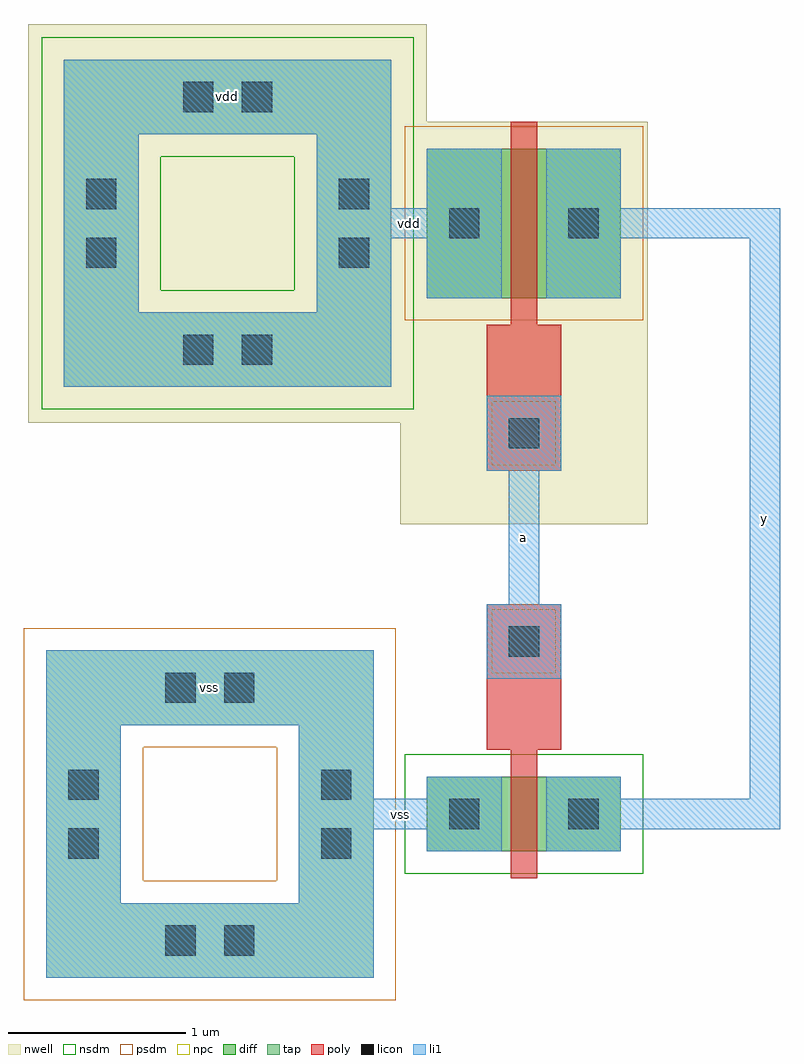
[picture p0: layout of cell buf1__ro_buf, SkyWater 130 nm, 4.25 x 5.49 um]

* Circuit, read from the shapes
.subckt buf1__ro_buf a vdd vss y
XM1 y a vss vss sky130_fd_pr__nfet_01v8 w=0.42 l=0.15
XM2 y a vdd vdd sky130_fd_pr__pfet_01v8 w=0.84 l=0.15
.ends

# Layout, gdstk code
import gdstk
lib = gdstk.Library(unit=1e-6, precision=1e-09)
def R(c, l, rs):  # rectangles x0, y0, x1, y1
    for r in rs: c.add(gdstk.rectangle(r[:2], r[2:], *l))
def P(c, l, *ps):  # polygons
    for p in ps: c.add(gdstk.Polygon(p, *l))
nwell = (64, 20)
diff = (65, 20)
tap = (65, 44)
poly = (66, 20)
licon = (66, 44)
li1 = (67, 20)
nsdm = (93, 44)
psdm = (94, 20)
npc = (95, 20)

mos_array_1_5 = lib.new_cell('mos_array$1$5')
R(mos_array_1_5, nwell, [(-0.15,-0.15,1.24,2.11)])
R(mos_array_1_5, diff, [(0,0,1.09,0.84)])
R(mos_array_1_5, poly, [(0.47,-0.15,0.62,0.84), (0.47,0.84,0.62,0.99), (0.47,0.84,0.62,0.99), (0.335,0.99,0.755,1.81)])
R(mos_array_1_5, licon, [(0.125,0.335,0.295,0.505), (0.795,0.335,0.965,0.505), (0.46,1.515,0.63,1.685)])
R(mos_array_1_5, li1, [(0,0,0.42,0.84), (0.67,0,1.09,0.84), (0.335,1.39,0.755,1.81)])
R(mos_array_1_5, psdm, [(-0.125,-0.125,1.215,0.965)])
R(mos_array_1_5, npc, [(0.365,1.42,0.725,1.78)])

mp__pfet_w0p84_l0p15 = lib.new_cell('mp__pfet_w0p84_l0p15')
mp__pfet_w0p84_l0p15.add(gdstk.Reference(mos_array_1_5, (0,0)))

guard_ring_1_5 = lib.new_cell('guard_ring$1$5')
R(guard_ring_1_5, nwell, [(-0.2,-0.2,2.04,2.04)])
P(guard_ring_1_5, tap, [(0,0),(0,1.42),(0.42,1.42),(0.42,0.42),(1.42,0.42),(1.42,1.42),(0,1.42),(0,1.84),(1.84,1.84),(1.84,0)])
R(guard_ring_1_5, licon, [(0.67,0.125,0.84,0.295), (1,0.125,1.17,0.295), (0.125,0.67,0.295,0.84), (1.545,0.67,1.715,0.84), (0.125,1,0.295,1.17), (1.545,1,1.715,1.17), (0.67,1.545,0.84,1.715), (1,1.545,1.17,1.715)])
P(guard_ring_1_5, li1, [(0,0),(0,1.42),(0.42,1.42),(0.42,0.42),(1.42,0.42),(1.42,1.42),(0,1.42),(0,1.84),(1.84,1.84),(1.84,0)])
P(guard_ring_1_5, nsdm, [(-0.125,-0.125),(-0.125,1.295),(0.545,1.295),(0.545,0.545),(1.295,0.545),(1.295,1.295),(-0.125,1.295),(-0.125,1.965),(1.965,1.965),(1.965,-0.125)])

nwell_tap__nwell_tap_5 = lib.new_cell('nwell_tap__nwell_tap$5')
nwell_tap__nwell_tap_5.add(gdstk.Reference(guard_ring_1_5, (0,0)))

mos_array_9 = lib.new_cell('mos_array$9')
R(mos_array_9, diff, [(0,0,1.09,0.42)])
R(mos_array_9, poly, [(0.47,-0.15,0.62,0.42), (0.47,0.42,0.62,0.57), (0.47,0.42,0.62,0.57), (0.335,0.57,0.755,1.39)])
R(mos_array_9, licon, [(0.125,0.125,0.295,0.295), (0.795,0.125,0.965,0.295), (0.46,1.095,0.63,1.265)])
R(mos_array_9, li1, [(0,0,0.42,0.42), (0.67,0,1.09,0.42), (0.335,0.97,0.755,1.39)])
R(mos_array_9, nsdm, [(-0.125,-0.125,1.215,0.545)])
R(mos_array_9, npc, [(0.365,1,0.725,1.36)])

mn__nfet_w0p42_l0p15 = lib.new_cell('mn__nfet_w0p42_l0p15')
mn__nfet_w0p42_l0p15.add(gdstk.Reference(mos_array_9, (0,0)))

guard_ring_6 = lib.new_cell('guard_ring$6')
P(guard_ring_6, tap, [(0,0),(0,1.42),(0.42,1.42),(0.42,0.42),(1.42,0.42),(1.42,1.42),(0,1.42),(0,1.84),(1.84,1.84),(1.84,0)])
R(guard_ring_6, licon, [(0.67,0.125,0.84,0.295), (1,0.125,1.17,0.295), (0.125,0.67,0.295,0.84), (1.545,0.67,1.715,0.84), (0.125,1,0.295,1.17), (1.545,1,1.715,1.17), (0.67,1.545,0.84,1.715), (1,1.545,1.17,1.715)])
P(guard_ring_6, li1, [(0,0),(0,1.42),(0.42,1.42),(0.42,0.42),(1.42,0.42),(1.42,1.42),(0,1.42),(0,1.84),(1.84,1.84),(1.84,0)])
P(guard_ring_6, psdm, [(-0.125,-0.125),(-0.125,1.295),(0.545,1.295),(0.545,0.545),(1.295,0.545),(1.295,1.295),(-0.125,1.295),(-0.125,1.965),(1.965,1.965),(1.965,-0.125)])

psub_tap__psub_tap_5 = lib.new_cell('psub_tap__psub_tap$5')
psub_tap__psub_tap_5.add(gdstk.Reference(guard_ring_6, (0,0)))

buf1__ro_buf = lib.new_cell('buf1__ro_buf')
R(buf1__ro_buf, li1, [(0.335,1.18,0.755,1.35), (0.335,2.18,0.755,2.35)])
buf1__ro_buf.add(gdstk.FlexPath([(0.545,2.35),(0.545,1.18)], 0.17, ends="flush", simple_path=True, layer=67, datatype=20))  # li1
buf1__ro_buf.add(gdstk.FlexPath([(0.88,3.53),(1.9,3.53),(1.9,0.21),(0.88,0.21)], 0.17, ends="flush", simple_path=True, layer=67, datatype=20))  # li1
buf1__ro_buf.add(gdstk.FlexPath([(0.21,3.53),(-0.41,3.53)], 0.17, ends="flush", simple_path=True, layer=67, datatype=20))  # li1
buf1__ro_buf.add(gdstk.FlexPath([(0.21,0.21),(-0.51,0.21)], 0.17, ends="flush", simple_path=True, layer=67, datatype=20))  # li1
buf1__ro_buf.add(gdstk.Reference(mp__pfet_w0p84_l0p15, (0,3.95), x_reflection=True))
buf1__ro_buf.add(gdstk.Reference(nwell_tap__nwell_tap_5, (-2.04,2.61)))
buf1__ro_buf.add(gdstk.Reference(mn__nfet_w0p42_l0p15, (0,0)))
buf1__ro_buf.add(gdstk.Reference(psub_tap__psub_tap_5, (-2.14,-0.71)))
buf1__ro_buf.add(gdstk.Label('a', (0.545,1.765), layer=67, texttype=5))
buf1__ro_buf.add(gdstk.Label('y', (1.9,1.87), layer=67, texttype=5))
buf1__ro_buf.add(gdstk.Label('vdd', (-0.1,3.53), layer=67, texttype=5))
buf1__ro_buf.add(gdstk.Label('vss', (-0.15,0.21), layer=67, texttype=5))
buf1__ro_buf.add(gdstk.Label('vdd', (-1.12,4.24), layer=67, texttype=5))
buf1__ro_buf.add(gdstk.Label('vss', (-1.22,0.92), layer=67, texttype=5))

lib.write_gds('buf1__ro_buf.gds')
